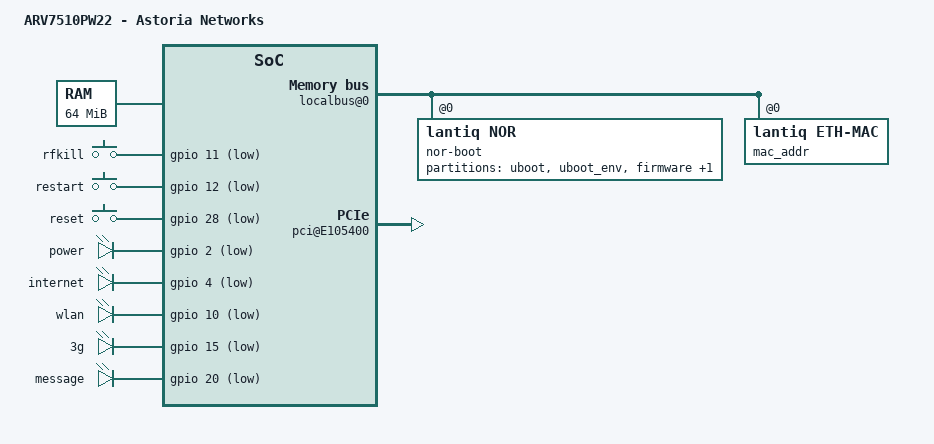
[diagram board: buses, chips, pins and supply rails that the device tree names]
/dts-v1/;

/include/ "danube.dtsi"

/ {
	model = "ARV7510PW22 - Astoria Networks";

	chosen {
		bootargs = "console=ttyLTQ0,115200 init=/etc/preinit";
	};

	memory@0 {
		reg = <0x0 0x4000000>;
	};

	sram@1F000000 {
		vmmc@107000 {
			status = "okay";
			gpios = <&gpio 9 0>;
		};
	};

	fpi@10000000 {
		localbus@0 {
			nor-boot@0 {
				compatible = "lantiq,nor";
				bank-width = <2>;
				reg = <0 0x0 0x1000000>;
				#address-cells = <1>;
				#size-cells = <1>;

				partition@0 {
					label = "uboot";
					reg = <0x00000 0x40000>;
					read-only;
				};

				partition@40000 {
					label = "uboot_env";
					reg = <0x40000 0x20000>;
					read-only;
				};

				partition@60000 {
					label = "firmware";
					reg = <0x60000 0xf80000>;
				};

				partition@fe0000 {
					label = "board_config";
					reg = <0xfe0000 0x20000>;
					read-only;
				};
			};

			mac_addr {
				compatible = "lantiq,eth-mac";
				reg = <0 0xfe0016 0x6>;
				mac-increment = <2>;
			};
		};

		gpio: pinmux@E100B10 {
			pinctrl-names = "default";
			pinctrl-0 = <&state_default>;

			state_default: pinmux {
				exin {
					lantiq,groups = "exin1";
					lantiq,function = "exin";
					lantiq,pull = <2>;
					lantiq,output = <0>;
				};
				pci_in {
					lantiq,groups = "req1", "req2";
					lantiq,function = "pci";
					lantiq,open-drain = <1>;
					lantiq,pull = <2>;
					lantiq,output = <0>;
				};
				pci_out {
					lantiq,groups = "gnt1";
					lantiq,function = "pci";
					lantiq,output = <1>;
				};
				pci_rst {
					lantiq,pins = "io21";
					lantiq,pull = <2>;
					lantiq,output = <1>;
				};
				pins_out {
					lantiq,pins = "io2", "io4", "io8", "io9", "io10", "io15", "io20";
					lantiq,output = <1>;
				};
				pins_in {
					lantiq,pins = "io11", "io12", "io28";
					lantiq,open-drain = <1>;
					lantiq,pull = <2>;
					lantiq,output = <0>;
				};
			};
		};

		ifxhcd@E101000 {
			status = "okay";
			gpios = <&gpio 8 0>;
		};

		etop@E180000 {
			phy-mode = "rmii";
			/* Switch reset 19 */
		};

		pci@E105400 {
			status = "okay";
			lantiq,external-clock;
			interrupt-map = <
				0x7000 0 0 1 &icu0 30
				0x7800 0 0 1 &icu0 135
				0x7800 0 0 2 &icu0 135
				0x7800 0 0 3 &icu0 135
			>;
			gpio-reset = <&gpio 21 0>;
			req-mask = <0x3>;
		};
	};

	ralink_eep {
		compatible = "ralink,eeprom";
		ralink,eeprom = "RT2860.eeprom";
	};

	gpio-keys-polled {
		compatible = "gpio-keys-polled";
		#address-cells = <1>;
		#size-cells = <0>;
		poll-interval = <100>;

		rfkill {
			label = "rfkill";
			gpios = <&gpio 11 1>;
			linux,code = <0xf7>;
		};
		restart {
			label = "restart";
			gpios = <&gpio 12 1>;
			linux,code = <0x100>;
		};
		reset {
			label = "reset";
			gpios = <&gpio 28 1>;
			linux,code = <0x198>;
		};
	};

	gpio-leds {
		compatible = "gpio-leds";
		power {
			label = "power";
			gpios = <&gpio 2 1>;
		};
		internet {
			label = "internet";
			gpios = <&gpio 4 1>;
		};
		wlan {
			label = "wlan";
			gpios = <&gpio 10 1>;
		};
		3g {
			label = "3g";
			gpios = <&gpio 15 1>;
		};
		message {
			label = "message";
			gpios = <&gpio 20 1>;
		};
	};
};
